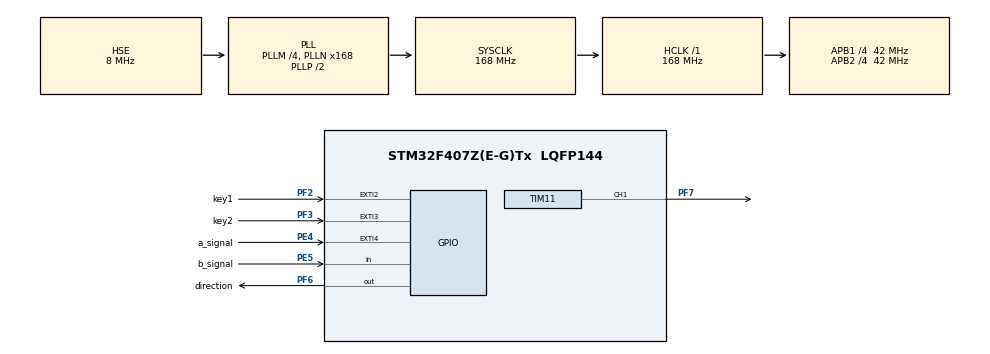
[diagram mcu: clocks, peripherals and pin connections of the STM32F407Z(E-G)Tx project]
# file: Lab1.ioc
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Mcu.Family=STM32F4
Mcu.Name=STM32F407Z(E-G)Tx
Mcu.Package=LQFP144
NVIC.EXTI2_IRQn=true\:0\:0\:false\:false\:true\:true\:true\:true
NVIC.EXTI3_IRQn=true\:0\:0\:false\:false\:true\:true\:true\:true
NVIC.EXTI4_IRQn=true\:0\:0\:false\:false\:true\:true\:true\:true
NVIC.PriorityGroup=NVIC_PRIORITYGROUP_4
NVIC.TIM1_UP_TIM10_IRQn=true\:0\:0\:false\:false\:true\:true\:true\:true
NVIC.TIM6_DAC_IRQn=true\:0\:0\:false\:false\:true\:true\:true\:true
PE4.GPIO_Label=a_signal
PE4.Signal=GPXTI4
PE5.GPIO_Label=b_signal
PE5.Signal=GPIO_Input
PF2.GPIO_Label=key1
PF2.GPIO_ModeDefaultEXTI=GPIO_MODE_IT_RISING_FALLING
PF2.Signal=GPXTI2
PF3.GPIO_Label=key2
PF3.GPIO_ModeDefaultEXTI=GPIO_MODE_IT_RISING
PF3.Signal=GPXTI3
PF6.GPIO_Label=direction
PF6.Signal=GPIO_Output
PF7.Signal=S_TIM11_CH1
PH0-OSC_IN.Mode=HSE-External-Oscillator
PH0-OSC_IN.Signal=RCC_OSC_IN
PH1-OSC_OUT.Mode=HSE-External-Oscillator
PH1-OSC_OUT.Signal=RCC_OSC_OUT
ProjectManager.HeapSize=0x200
ProjectManager.StackSize=0x400
ProjectManager.TargetToolchain=STM32CubeIDE
RCC.48MHZClocksFreq_Value=84000000
RCC.AHBFreq_Value=168000000
RCC.APB1CLKDivider=RCC_HCLK_DIV4
RCC.APB1Freq_Value=42000000
RCC.APB1TimFreq_Value=84000000
RCC.APB2CLKDivider=RCC_HCLK_DIV4
RCC.APB2Freq_Value=42000000
RCC.APB2TimFreq_Value=84000000
RCC.CortexFreq_Value=168000000
RCC.HCLKFreq_Value=168000000
RCC.HSE_VALUE=8000000
RCC.HSI_VALUE=16000000
RCC.LSE_VALUE=32768
RCC.PLLM=4
RCC.PLLN=168
RCC.PLLSourceVirtual=RCC_PLLSOURCE_HSE
RCC.SYSCLKFreq_VALUE=168000000
RCC.SYSCLKSource=RCC_SYSCLKSOURCE_PLLCLK
RCC.VCOOutputFreq_Value=336000000
SH.S_TIM11_CH1.0=TIM11_CH1,PWM Generation1 CH1
TIM10.Period=9999
TIM10.Prescaler=167
TIM11.Channel=TIM_CHANNEL_1
TIM11.Period=1000
TIM11.Prescaler=4
TIM11.Pulse=0
VP_TIM10_VS_ClockSourceINT.Mode=Enable_Timer
VP_TIM11_VS_ClockSourceINT.Mode=Enable_Timer
VP_TIM6_VS_ClockSourceINT.Mode=Enable_Timer
board=custom

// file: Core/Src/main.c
/* USER CODE BEGIN Header */
/**
  ******************************************************************************
  * @file           : main.c
  * @brief          : Main program body
  ******************************************************************************
  * @attention
  *
  * Copyright (c) 2023 STMicroelectronics.
  * All rights reserved.
  *
  * This software is licensed under terms that can be found in the LICENSE file
  * in the root directory of this software component.
  * If no LICENSE file comes with this software, it is provided AS-IS.
  *
  ******************************************************************************
  */
/* USER CODE END Header */
#include "main.h"

/* USER CODE BEGIN PTD */
typedef enum{
	  ZERO,
	  FIRST,
	  SECOND,
	  THIRD
  }STATE;

/* USER CODE END PTD */

/* USER CODE BEGIN PD */
#define PPR 1024
#define STEADY_STATE 1800
/* USER CODE END PD */

 TIM_HandleTypeDef htim6;
TIM_HandleTypeDef htim10;
TIM_HandleTypeDef htim11;

/* USER CODE BEGIN PV */
STATE state = ZERO;
/* USER CODE END PV */

void SystemClock_Config(void);
static void MX_GPIO_Init(void);
static void MX_TIM11_Init(void);
static void MX_TIM6_Init(void);
static void MX_TIM10_Init(void);

/* USER CODE BEGIN 0 */
uint16_t pulse_number = 0;
uint16_t rpm = 0;
uint16_t direction = 0;
uint16_t ta = 0;
uint16_t rpm_0 = 0;
uint16_t rpm_1 = 0;
uint16_t rpm_prev = 0;
uint16_t rpm_next = 0;
uint16_t K = 0;
uint16_t ss = 0;
uint16_t position_pulse = 0;
uint16_t position = 0;
float u = 0.0f, ul = 0.0f, e = 0.0f, el = 0.0f;
float kp = 0.1f, ki = 1.0f, ts = 0.02f;
uint16_t set_point = 0;
uint8_t start = 0;
uint16_t sp_values[3] = {600, 1200, 600};
uint8_t sp_duration[3] = {3, 3, 3};
uint16_t sp_counter = 0;
uint8_t sp_index = 0;
uint8_t sp_len = 0;
/* USER CODE END 0 */

int main(void)
{

  /* MCU Configuration--------------------------------------------------------*/

  /* Reset of all peripherals, Initializes the Flash interface and the Systick. */
  HAL_Init();

  /* Configure the system clock */
  SystemClock_Config();

  /* Initialize all configured peripherals */
  MX_GPIO_Init();
  MX_TIM11_Init();
  MX_TIM6_Init();
  MX_TIM10_Init();
  /* USER CODE BEGIN 2 */
  sp_len = sizeof(sp_values) / sizeof(sp_values[0]);
  HAL_TIM_PWM_Start(&htim11, TIM_CHANNEL_1);
  TIM11->CCR1 = 200;

  TIM6->PSC = 839;
  TIM6->ARR = 999;
  HAL_TIM_Base_Start_IT(&htim6);

  /* USER CODE END 2 */

  /* Infinite loop */
  /* USER CODE BEGIN WHILE */
  while (1)
  {

	  /*switch(state){
	  case ZERO:
		  TIM11->CCR1 = 1;
		  break;
	  case FIRST:
		  TIM11->CCR1 = 370;
		  rpm_0 = rpm;
		  rpm_next = rpm;
		  break;
	  case SECOND:
		  TIM11->CCR1 = 700;
		  rpm_1 = rpm;
		  rpm_prev = rpm_next;
		  rpm_next = rpm;
		  K = (rpm_1 - rpm_0) / ((0.7f-0.37f) * 12);
		  if (abs(rpm_next - rpm_prev) < 1){
			  ss = rpm_next;
		  }
		  if (rpm > (1134 + rpm_0)){
			  ta = __HAL_TIM_GET_COUNTER(&htim10);
			  HAL_TIM_Base_Stop(&htim10);
		  }
		  break;
	  case THIRD:
		  TIM11->CCR1 = 370;
		  break;
	  }*/
    /* USER CODE END WHILE */

  }
}

void SystemClock_Config(void)
{
  RCC_OscInitTypeDef RCC_OscInitStruct = {0};
  RCC_ClkInitTypeDef RCC_ClkInitStruct = {0};

  /** Configure the main internal regulator output voltage
  */
  __HAL_RCC_PWR_CLK_ENABLE();
  __HAL_PWR_VOLTAGESCALING_CONFIG(PWR_REGULATOR_VOLTAGE_SCALE1);

  /** Initializes the RCC Oscillators according to the specified parameters
  * in the RCC_OscInitTypeDef structure.
  */
  RCC_OscInitStruct.OscillatorType = RCC_OSCILLATORTYPE_HSE;
  RCC_OscInitStruct.HSEState = RCC_HSE_ON;
  RCC_OscInitStruct.PLL.PLLState = RCC_PLL_ON;
  RCC_OscInitStruct.PLL.PLLSource = RCC_PLLSOURCE_HSE;
  RCC_OscInitStruct.PLL.PLLM = 4;
  RCC_OscInitStruct.PLL.PLLN = 168;
  RCC_OscInitStruct.PLL.PLLP = RCC_PLLP_DIV2;
  RCC_OscInitStruct.PLL.PLLQ = 4;
  if (HAL_RCC_OscConfig(&RCC_OscInitStruct) != HAL_OK)
  {
    Error_Handler();
  }

  /** Initializes the CPU, AHB and APB buses clocks
  */
  RCC_ClkInitStruct.ClockType = RCC_CLOCKTYPE_HCLK|RCC_CLOCKTYPE_SYSCLK
                              |RCC_CLOCKTYPE_PCLK1|RCC_CLOCKTYPE_PCLK2;
  RCC_ClkInitStruct.SYSCLKSource = RCC_SYSCLKSOURCE_PLLCLK;
  RCC_ClkInitStruct.AHBCLKDivider = RCC_SYSCLK_DIV1;
  RCC_ClkInitStruct.APB1CLKDivider = RCC_HCLK_DIV4;
  RCC_ClkInitStruct.APB2CLKDivider = RCC_HCLK_DIV4;

  if (HAL_RCC_ClockConfig(&RCC_ClkInitStruct, FLASH_LATENCY_5) != HAL_OK)
  {
    Error_Handler();
  }
}

static void MX_TIM6_Init(void)
{

  TIM_MasterConfigTypeDef sMasterConfig = {0};

  htim6.Instance = TIM6;
  htim6.Init.Prescaler = 0;
  htim6.Init.CounterMode = TIM_COUNTERMODE_UP;
  htim6.Init.Period = 65535;
  htim6.Init.AutoReloadPreload = TIM_AUTORELOAD_PRELOAD_DISABLE;
  if (HAL_TIM_Base_Init(&htim6) != HAL_OK)
  {
    Error_Handler();
  }
  sMasterConfig.MasterOutputTrigger = TIM_TRGO_RESET;
  sMasterConfig.MasterSlaveMode = TIM_MASTERSLAVEMODE_DISABLE;
  if (HAL_TIMEx_MasterConfigSynchronization(&htim6, &sMasterConfig) != HAL_OK)
  {
    Error_Handler();
  }

}

static void MX_TIM10_Init(void)
{

  htim10.Instance = TIM10;
  htim10.Init.Prescaler = 167;
  htim10.Init.CounterMode = TIM_COUNTERMODE_UP;
  htim10.Init.Period = 9999;
  htim10.Init.ClockDivision = TIM_CLOCKDIVISION_DIV1;
  htim10.Init.AutoReloadPreload = TIM_AUTORELOAD_PRELOAD_DISABLE;
  if (HAL_TIM_Base_Init(&htim10) != HAL_OK)
  {
    Error_Handler();
  }

}

static void MX_TIM11_Init(void)
{

  TIM_OC_InitTypeDef sConfigOC = {0};

  htim11.Instance = TIM11;
  htim11.Init.Prescaler = 4;
  htim11.Init.CounterMode = TIM_COUNTERMODE_UP;
  htim11.Init.Period = 1000;
  htim11.Init.ClockDivision = TIM_CLOCKDIVISION_DIV1;
  htim11.Init.AutoReloadPreload = TIM_AUTORELOAD_PRELOAD_DISABLE;
  if (HAL_TIM_Base_Init(&htim11) != HAL_OK)
  {
    Error_Handler();
  }
  if (HAL_TIM_PWM_Init(&htim11) != HAL_OK)
  {
    Error_Handler();
  }
  sConfigOC.OCMode = TIM_OCMODE_PWM1;
  sConfigOC.Pulse = 0;
  sConfigOC.OCPolarity = TIM_OCPOLARITY_HIGH;
  sConfigOC.OCFastMode = TIM_OCFAST_DISABLE;
  if (HAL_TIM_PWM_ConfigChannel(&htim11, &sConfigOC, TIM_CHANNEL_1) != HAL_OK)
  {
    Error_Handler();
  }
  HAL_TIM_MspPostInit(&htim11);

}

static void MX_GPIO_Init(void)
{
  GPIO_InitTypeDef GPIO_InitStruct = {0};

  /* GPIO Ports Clock Enable */
  __HAL_RCC_GPIOE_CLK_ENABLE();
  __HAL_RCC_GPIOF_CLK_ENABLE();
  __HAL_RCC_GPIOH_CLK_ENABLE();

  /*Configure GPIO pin Output Level */
  HAL_GPIO_WritePin(direction_GPIO_Port, direction_Pin, GPIO_PIN_RESET);

  /*Configure GPIO pin : a_signal_Pin */
  GPIO_InitStruct.Pin = a_signal_Pin;
  GPIO_InitStruct.Mode = GPIO_MODE_IT_RISING;
  GPIO_InitStruct.Pull = GPIO_NOPULL;
  HAL_GPIO_Init(a_signal_GPIO_Port, &GPIO_InitStruct);

  /*Configure GPIO pin : b_signal_Pin */
  GPIO_InitStruct.Pin = b_signal_Pin;
  GPIO_InitStruct.Mode = GPIO_MODE_INPUT;
  GPIO_InitStruct.Pull = GPIO_NOPULL;
  HAL_GPIO_Init(b_signal_GPIO_Port, &GPIO_InitStruct);

  /*Configure GPIO pin : key1_Pin */
  GPIO_InitStruct.Pin = key1_Pin;
  GPIO_InitStruct.Mode = GPIO_MODE_IT_RISING_FALLING;
  GPIO_InitStruct.Pull = GPIO_NOPULL;
  HAL_GPIO_Init(key1_GPIO_Port, &GPIO_InitStruct);

  /*Configure GPIO pin : key2_Pin */
  GPIO_InitStruct.Pin = key2_Pin;
  GPIO_InitStruct.Mode = GPIO_MODE_IT_RISING;
  GPIO_InitStruct.Pull = GPIO_NOPULL;
  HAL_GPIO_Init(key2_GPIO_Port, &GPIO_InitStruct);

  /*Configure GPIO pin : direction_Pin */
  GPIO_InitStruct.Pin = direction_Pin;
  GPIO_InitStruct.Mode = GPIO_MODE_OUTPUT_PP;
  GPIO_InitStruct.Pull = GPIO_NOPULL;
  GPIO_InitStruct.Speed = GPIO_SPEED_FREQ_LOW;
  HAL_GPIO_Init(direction_GPIO_Port, &GPIO_InitStruct);

  /* EXTI interrupt init*/
  HAL_NVIC_SetPriority(EXTI2_IRQn, 0, 0);
  HAL_NVIC_EnableIRQ(EXTI2_IRQn);

  HAL_NVIC_SetPriority(EXTI3_IRQn, 0, 0);
  HAL_NVIC_EnableIRQ(EXTI3_IRQn);

  HAL_NVIC_SetPriority(EXTI4_IRQn, 0, 0);
  HAL_NVIC_EnableIRQ(EXTI4_IRQn);

}

/* USER CODE BEGIN 4 */
void HAL_TIM_PeriodElapsedCallback(TIM_HandleTypeDef *htim){
	if (htim->Instance == TIM6){
		rpm = (pulse_number * 6000) / PPR;
		position = (position_pulse % PPR);
		pulse_number = 0;
	}
	if (htim->Instance == TIM10){
		sp_counter++;
		if (sp_counter > 300 * sp_duration[sp_index]){
			set_point = sp_values[sp_index];
			sp_index++;
			if (sp_index >= sp_len){
				sp_index = 0;
			}
			sp_counter = 0;
		}
		e = set_point - rpm;
		u = ul + (ts * ki + kp) * e - kp * el;
		TIM11->CCR1 = (int)(u);
		el = e;
		ul = u;
	}
}

void HAL_GPIO_EXTI_Callback(uint16_t GPIO_Pin)
{
	if (GPIO_Pin == a_signal_Pin){
		pulse_number++;
		if ((HAL_GPIO_ReadPin(b_signal_GPIO_Port, b_signal_Pin)) == GPIO_PIN_SET){
			direction = 0;
			position_pulse++;
		}
		else{
			direction = 1;
			position_pulse--;
		}
	}
	if (GPIO_Pin == key2_Pin){
		start = (start > 0)?0:1;
		if (start > 0){
			set_point = 300;
			HAL_TIM_Base_Start_IT(&htim10);
		}
		else{
			HAL_TIM_Base_Stop_IT(&htim10);
			TIM11->CCR1 = 0;
		}
		/*if (state == ZERO){
			state = FIRST;
		}
		else if (state == FIRST){
			if (ta == 0){
				__HAL_TIM_SetCounter(&htim10, 0);
				HAL_TIM_Base_Start(&htim10);
			}
			state = SECOND;
		}
		else if (state == SECOND){

			state = THIRD;
		}
		else{
			state = ZERO;
		}*/
	}
}
/* USER CODE END 4 */

void Error_Handler(void)
{
  __disable_irq();
  while (1)
  {
  }
}
